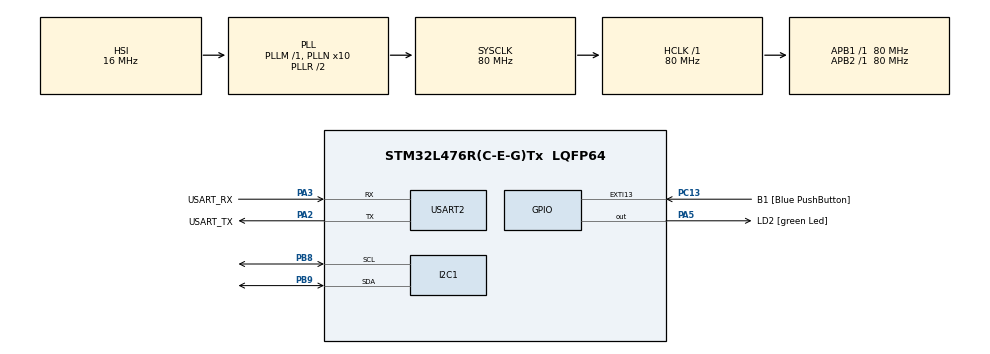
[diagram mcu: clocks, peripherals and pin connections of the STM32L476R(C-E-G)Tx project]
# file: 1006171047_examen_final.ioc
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I2C1.Timing=0x10909CEC
Mcu.Family=STM32L4
Mcu.Name=STM32L476R(C-E-G)Tx
Mcu.Package=LQFP64
NVIC.I2C1_ER_IRQn=true\:0\:0\:false\:false\:true\:true\:true\:true
NVIC.I2C1_EV_IRQn=true\:0\:0\:false\:false\:true\:true\:true\:true
NVIC.PriorityGroup=NVIC_PRIORITYGROUP_4
NVIC.USART2_IRQn=true\:0\:0\:false\:false\:true\:true\:true\:true
PA13\ (JTMS-SWDIO).GPIO_Label=TMS
PA13\ (JTMS-SWDIO).Mode=Serial_Wire
PA13\ (JTMS-SWDIO).Signal=SYS_JTMS-SWDIO
PA14\ (JTCK-SWCLK).GPIO_Label=TCK
PA14\ (JTCK-SWCLK).Mode=Serial_Wire
PA14\ (JTCK-SWCLK).Signal=SYS_JTCK-SWCLK
PA2.GPIO_Label=USART_TX
PA2.GPIO_Mode=GPIO_MODE_AF_PP
PA2.GPIO_PuPd=GPIO_NOPULL
PA2.GPIO_Speed=GPIO_SPEED_FREQ_VERY_HIGH
PA2.Mode=Asynchronous
PA2.Signal=USART2_TX
PA3.GPIO_Label=USART_RX
PA3.GPIO_Mode=GPIO_MODE_AF_PP
PA3.GPIO_PuPd=GPIO_NOPULL
PA3.GPIO_Speed=GPIO_SPEED_FREQ_VERY_HIGH
PA3.Mode=Asynchronous
PA3.Signal=USART2_RX
PA5.GPIO_Label=LD2 [green Led]
PA5.GPIO_ModeDefaultOutputPP=GPIO_MODE_OUTPUT_PP
PA5.GPIO_PuPd=GPIO_NOPULL
PA5.GPIO_Speed=GPIO_SPEED_FREQ_LOW
PA5.Signal=GPIO_Output
PB3\ (JTDO-TRACESWO).GPIO_Label=SWO
PB3\ (JTDO-TRACESWO).Signal=SYS_JTDO-SWO
PB8.Mode=I2C
PB8.Signal=I2C1_SCL
PB9.Mode=I2C
PB9.Signal=I2C1_SDA
PC13.GPIO_Label=B1 [Blue PushButton]
PC13.GPIO_ModeDefaultEXTI=GPIO_MODE_IT_FALLING
PC13.GPIO_PuPd=GPIO_NOPULL
PC13.Signal=GPXTI13
PC14-OSC32_IN\ (PC14).Mode=LSE-External-Oscillator
PC14-OSC32_IN\ (PC14).Signal=RCC_OSC32_IN
PC15-OSC32_OUT\ (PC15).Mode=LSE-External-Oscillator
PC15-OSC32_OUT\ (PC15).Signal=RCC_OSC32_OUT
PH0-OSC_IN\ (PH0).Signal=RCC_OSC_IN
PH1-OSC_OUT\ (PH1).Signal=RCC_OSC_OUT
ProjectManager.HeapSize=0x200
ProjectManager.StackSize=0x400
ProjectManager.TargetToolchain=STM32CubeIDE
RCC.ADCFreq_Value=64000000
RCC.AHBFreq_Value=80000000
RCC.APB1Freq_Value=80000000
RCC.APB1TimFreq_Value=80000000
RCC.APB2Freq_Value=80000000
RCC.APB2TimFreq_Value=80000000
RCC.CortexFreq_Value=80000000
RCC.HCLKFreq_Value=80000000
RCC.HSE_VALUE=8000000
RCC.HSI_VALUE=16000000
RCC.MSI_VALUE=4000000
RCC.PLLN=10
RCC.PLLSourceVirtual=RCC_PLLSOURCE_HSI
RCC.PREFETCH_ENABLE=1
RCC.SYSCLKFreq_VALUE=80000000
RCC.SYSCLKSource=RCC_SYSCLKSOURCE_PLLCLK
RCC.USBFreq_Value=64000000
RCC.VCOOutputFreq_Value=160000000
USART2.VirtualMode-Asynchronous=VM_ASYNC
board=NUCLEO-L476RG

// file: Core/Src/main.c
/* USER CODE BEGIN Header */
/**
  ******************************************************************************
  * @file           : main.c
  * @brief          : Main program body
  ******************************************************************************
  * @attention
  *
  * Copyright (c) 2023 STMicroelectronics.
  * All rights reserved.
  *
  * This software is licensed under terms that can be found in the LICENSE file
  * in the root directory of this software component.
  * If no LICENSE file comes with this software, it is provided AS-IS.
  *
  ******************************************************************************
  */
/* USER CODE END Header */
#include "main.h"

/* USER CODE BEGIN Includes */
#include <stdio.h>
#include <string.h>
#include "ring_buffer.h"
#include "ssd1306.h"
#include "ssd1306_fonts.h"
/* USER CODE END Includes */

I2C_HandleTypeDef hi2c1;

UART_HandleTypeDef huart2;

/* USER CODE BEGIN PV */
ring_buffer_t ring_buffer_uart_rx;
ring_buffer_t ring_buffer_code;
uint8_t rx_buffer[10];
uint8_t code_U[10]= "1006171047";
uint8_t rx_data;
uint16_t key_event = 0xFF;
/* USER CODE END PV */

void SystemClock_Config(void);
static void MX_GPIO_Init(void);
static void MX_USART2_UART_Init(void);
static void MX_I2C1_Init(void);

/* USER CODE BEGIN 0 */

int _write(int file, char *ptr, int len)
{
  HAL_UART_Transmit(&huart2, (uint8_t *)ptr, len, HAL_MAX_DELAY);
  return len;
}
void HAL_UART_RxCpltCallback(UART_HandleTypeDef *huart)
{
	if (ring_buffer_put(&ring_buffer_uart_rx, rx_data) == 0) {
		printf("Rx buffer is full\r\n");
	}
	HAL_UART_Receive_IT(&huart2, &rx_data, 1);
}
void validate_code (void){
	uint8_t code_buffer[7];
	for (uint8_t idx = 0; idx<7; idx++){
		ring_buffer_get(&ring_buffer_uart_rx, &code_buffer[idx]);
	}
	if (memcmp(code_U, code_buffer, 7)== 0){
		printf("Success\r\n");
		ssd1306_Fill(Black);
		  	ssd1306_SetCursor(5, 5);
		  	ssd1306_WriteString("Succes", Font_16x26, White);
		  	ssd1306_UpdateScreen();

	}else {
		printf("Failed\r\n");
		ssd1306_Fill(Black);
		ssd1306_SetCursor(5, 5);
		ssd1306_WriteString("failed", Font_16x26, White);
		ssd1306_UpdateScreen();
	}
}
void process_code_int (uint8_t code_int){
	for (uint8_t idx = 0; idx < 10; idx++) {
			// Get ring buffer variables
		  ring_buffer_get(&ring_buffer_uart_rx, & rx_buffer[idx]);
	}
	}
/* USER CODE END 0 */

int main(void)
{

  /* MCU Configuration--------------------------------------------------------*/

  /* Reset of all peripherals, Initializes the Flash interface and the Systick. */
  HAL_Init();

  /* Configure the system clock */
  SystemClock_Config();

  /* Initialize all configured peripherals */
  MX_GPIO_Init();
  MX_USART2_UART_Init();
  MX_I2C1_Init();
  /* USER CODE BEGIN 2 */
  ring_buffer_init(&ring_buffer_code, rx_buffer, 5);
  HAL_UART_Receive_IT(&huart2, &rx_data, 1);
  HAL_UART_Receive_IT(&huart2, &rx_data, 1);
  ssd1306_Fill(Black);
  ssd1306_SetCursor(5, 5);
  ssd1306_WriteString("WAITING", Font_16x26, White);
  ssd1306_UpdateScreen();

  /* USER CODE END 2 */

  /* Infinite loop */
  /* USER CODE BEGIN WHILE */
  while (1)
  {
	  for (int i = 0; i < 10; ++i) {
	        int key_event;
	        scanf("%d", &key_event);

	        // Agrega el nuevo valor a key_event
	        process_code_int(key_event);
	    }

	    // Llama a la función process_code_int y pasa key_event

	      // Declara un array para almacenar los 10 valores

    /* USER CODE END WHILE */

  }
}

void SystemClock_Config(void)
{
  RCC_OscInitTypeDef RCC_OscInitStruct = {0};
  RCC_ClkInitTypeDef RCC_ClkInitStruct = {0};

  /** Configure the main internal regulator output voltage
  */
  if (HAL_PWREx_ControlVoltageScaling(PWR_REGULATOR_VOLTAGE_SCALE1) != HAL_OK)
  {
    Error_Handler();
  }

  /** Initializes the RCC Oscillators according to the specified parameters
  * in the RCC_OscInitTypeDef structure.
  */
  RCC_OscInitStruct.OscillatorType = RCC_OSCILLATORTYPE_HSI;
  RCC_OscInitStruct.HSIState = RCC_HSI_ON;
  RCC_OscInitStruct.HSICalibrationValue = RCC_HSICALIBRATION_DEFAULT;
  RCC_OscInitStruct.PLL.PLLState = RCC_PLL_ON;
  RCC_OscInitStruct.PLL.PLLSource = RCC_PLLSOURCE_HSI;
  RCC_OscInitStruct.PLL.PLLM = 1;
  RCC_OscInitStruct.PLL.PLLN = 10;
  RCC_OscInitStruct.PLL.PLLP = RCC_PLLP_DIV7;
  RCC_OscInitStruct.PLL.PLLQ = RCC_PLLQ_DIV2;
  RCC_OscInitStruct.PLL.PLLR = RCC_PLLR_DIV2;
  if (HAL_RCC_OscConfig(&RCC_OscInitStruct) != HAL_OK)
  {
    Error_Handler();
  }

  /** Initializes the CPU, AHB and APB buses clocks
  */
  RCC_ClkInitStruct.ClockType = RCC_CLOCKTYPE_HCLK|RCC_CLOCKTYPE_SYSCLK
                              |RCC_CLOCKTYPE_PCLK1|RCC_CLOCKTYPE_PCLK2;
  RCC_ClkInitStruct.SYSCLKSource = RCC_SYSCLKSOURCE_PLLCLK;
  RCC_ClkInitStruct.AHBCLKDivider = RCC_SYSCLK_DIV1;
  RCC_ClkInitStruct.APB1CLKDivider = RCC_HCLK_DIV1;
  RCC_ClkInitStruct.APB2CLKDivider = RCC_HCLK_DIV1;

  if (HAL_RCC_ClockConfig(&RCC_ClkInitStruct, FLASH_LATENCY_4) != HAL_OK)
  {
    Error_Handler();
  }
}

static void MX_I2C1_Init(void)
{

  hi2c1.Instance = I2C1;
  hi2c1.Init.Timing = 0x10909CEC;
  hi2c1.Init.OwnAddress1 = 0;
  hi2c1.Init.AddressingMode = I2C_ADDRESSINGMODE_7BIT;
  hi2c1.Init.DualAddressMode = I2C_DUALADDRESS_DISABLE;
  hi2c1.Init.OwnAddress2 = 0;
  hi2c1.Init.OwnAddress2Masks = I2C_OA2_NOMASK;
  hi2c1.Init.GeneralCallMode = I2C_GENERALCALL_DISABLE;
  hi2c1.Init.NoStretchMode = I2C_NOSTRETCH_DISABLE;
  if (HAL_I2C_Init(&hi2c1) != HAL_OK)
  {
    Error_Handler();
  }

  /** Configure Analogue filter
  */
  if (HAL_I2CEx_ConfigAnalogFilter(&hi2c1, I2C_ANALOGFILTER_ENABLE) != HAL_OK)
  {
    Error_Handler();
  }

  /** Configure Digital filter
  */
  if (HAL_I2CEx_ConfigDigitalFilter(&hi2c1, 0) != HAL_OK)
  {
    Error_Handler();
  }

}

static void MX_USART2_UART_Init(void)
{

  huart2.Instance = USART2;
  huart2.Init.BaudRate = 115200;
  huart2.Init.WordLength = UART_WORDLENGTH_8B;
  huart2.Init.StopBits = UART_STOPBITS_1;
  huart2.Init.Parity = UART_PARITY_NONE;
  huart2.Init.Mode = UART_MODE_TX_RX;
  huart2.Init.HwFlowCtl = UART_HWCONTROL_NONE;
  huart2.Init.OverSampling = UART_OVERSAMPLING_16;
  huart2.Init.OneBitSampling = UART_ONE_BIT_SAMPLE_DISABLE;
  huart2.AdvancedInit.AdvFeatureInit = UART_ADVFEATURE_NO_INIT;
  if (HAL_UART_Init(&huart2) != HAL_OK)
  {
    Error_Handler();
  }

}

static void MX_GPIO_Init(void)
{
  GPIO_InitTypeDef GPIO_InitStruct = {0};

  /* GPIO Ports Clock Enable */
  __HAL_RCC_GPIOC_CLK_ENABLE();
  __HAL_RCC_GPIOH_CLK_ENABLE();
  __HAL_RCC_GPIOA_CLK_ENABLE();
  __HAL_RCC_GPIOB_CLK_ENABLE();

  /*Configure GPIO pin Output Level */
  HAL_GPIO_WritePin(LD2_GPIO_Port, LD2_Pin, GPIO_PIN_RESET);

  /*Configure GPIO pin : B1_Pin */
  GPIO_InitStruct.Pin = B1_Pin;
  GPIO_InitStruct.Mode = GPIO_MODE_IT_FALLING;
  GPIO_InitStruct.Pull = GPIO_NOPULL;
  HAL_GPIO_Init(B1_GPIO_Port, &GPIO_InitStruct);

  /*Configure GPIO pin : LD2_Pin */
  GPIO_InitStruct.Pin = LD2_Pin;
  GPIO_InitStruct.Mode = GPIO_MODE_OUTPUT_PP;
  GPIO_InitStruct.Pull = GPIO_NOPULL;
  GPIO_InitStruct.Speed = GPIO_SPEED_FREQ_LOW;
  HAL_GPIO_Init(LD2_GPIO_Port, &GPIO_InitStruct);

}

void Error_Handler(void)
{
  __disable_irq();
  while (1)
  {
  }
}
